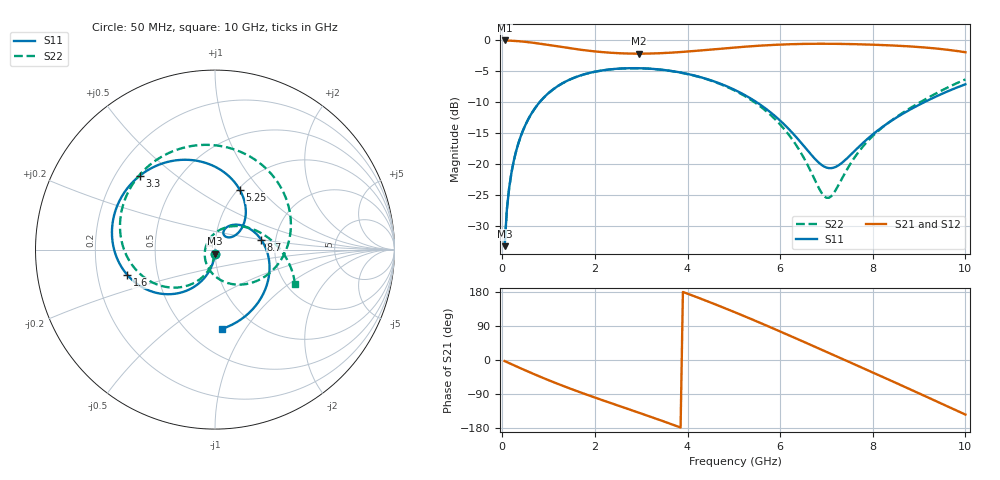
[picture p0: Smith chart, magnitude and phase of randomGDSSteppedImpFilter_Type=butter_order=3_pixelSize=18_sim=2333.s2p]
! freq	dB(S11)	phase(S11)	dB(S12)	phase(S12)
!  dB(S21)	phase(S21)	dB(S22)	phase(S22)
!S-par simulation data
#  GHz  S  DB  R 50
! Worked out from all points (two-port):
!   200 points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, 50 MHz to 10 GHz, reference 50 ohm
!   highest |S21| = -0.01 dB at 50 MHz (marker M1); lowest = -2.1 dB at 2.95 GHz (marker M2)
!   |S21| within 3 dB of the highest: start of sweep to end of sweep
!   lowest |S11| = -33.2 dB at 50 MHz (marker M3), VSWR 1.04, Z = 49.9 - j2.19 ohm
!   |S11| at or under -10 dB: start of sweep to 801.7 MHz; 5.5 GHz to 9.1 GHz (3.601 GHz wide, 49.3 % of centre)
!   |S22| runs from -33.2 to -4.5 dB; largest |S21 - S12| = 0
!   S11 on the Smith chart (normalised r, x): 50 MHz: 1.00, -0.04; 1.6 GHz: 0.33, -0.13; 3.3 GHz: 0.30, +0.38; 5.25 GHz: 1.02, +0.78; 8.7 GHz: 1.68, +0.20; 10 GHz: 0.72, -0.79
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0.05  -33.17 -92.6  -0.01 -2.8  -0.01 -2.8  -33.18 -93.1
0.1  -27.18 -95.3  -0.02 -5.6  -0.02 -5.6  -27.18 -96.3
0.2  -21.23 -100.6  -0.05 -11.2  -0.05 -11.2  -21.23 -102.5
0.45  -14.46 -113.1  -0.19 -24.8  -0.19 -24.8  -14.47 -117.5
1  -8.48 -138.9  -0.73 -53.3  -0.73 -53.3  -8.49 -148.9
1.6  -5.87 -163.9  -1.41 -81.6  -1.41 -81.6  -5.88 179.6
1.75  -5.50 -169.7  -1.56 -88.2  -1.56 -88.2  -5.51 172.1
2.3  -4.69 170.2  -1.97 -111.8  -1.97 -111.8  -4.70 145.1
2.95  -4.48 147.6  -2.14 -139.1  -2.14 -139.1  -4.49 113.2
3.3  -4.62 135.7  -2.09 -154.0  -2.09 -154.0  -4.63 95.6
3.4  -4.69 132.2  -2.06 -158.3  -2.06 -158.3  -4.71 90.5
4.25  -5.86 102.8  -1.64 163.5  -1.64 163.5  -5.89 44.6
5.05  -8.08 74.5  -1.12 124.6  -1.12 124.6  -8.20 -2.8
5.25  -8.87 67.4  -1.01 114.5  -1.01 114.5  -9.03 -15.3
5.95  -12.59 44.7  -0.69 77.9  -0.69 77.9  -13.16 -61.6
6.7  -18.68 37.1  -0.54 37.7  -0.54 37.7  -21.71 -130.0
7.05  -20.59 51.2  -0.54 18.7  -0.54 18.7  -25.38 158.3
7.5  -18.61 65.0  -0.59 -5.7  -0.59 -5.7  -20.10 84.9
8.35  -13.21 34.3  -0.79 -52.1  -0.79 -52.1  -13.20 34.2
8.7  -11.60 12.1  -0.92 -71.4  -0.92 -71.4  -11.42 20.7
9.3  -9.27 -31.1  -1.25 -104.8  -1.25 -104.8  -8.81 0.4
10  -7.07 -84.8  -1.90 -144.0  -1.90 -144.0  -6.29 -23.2
